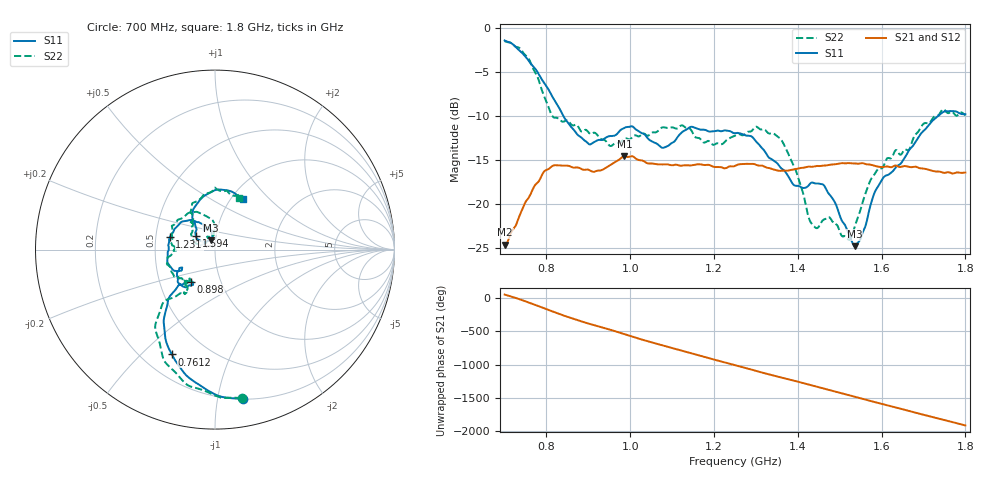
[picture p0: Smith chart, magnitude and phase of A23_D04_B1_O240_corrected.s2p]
! Created with skrf 1.9.0 (http://scikit-rf.org).
# Hz S RI R 50.0
!freq ReS11 ImS11 ReS21 ImS21 ReS12 ImS12 ReS22 ImS22
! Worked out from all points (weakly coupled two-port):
!   1601 points, 700 MHz to 1.8 GHz, reference 50 ohm
!   highest |S21| = -14.57 dB at 986 MHz (marker M1); lowest = -24.6 dB at 701.4 MHz (marker M2)
!   lowest |S11| = -24.8 dB at 1.535 GHz (marker M3), VSWR 1.12, Z = 47.4 + j5 ohm
!   |S11| at or under -10 dB: 840.1 MHz to 1.735 GHz (895.1 MHz wide, 69.5 % of centre)
!   |S22| runs from -24.1 to -1.5 dB; largest |S21 - S12| = 0.0034
!   S11 on the Smith chart (normalised r, x): 700 MHz: 0.20, -1.19; 761.2 MHz: 0.32, -0.62; 898 MHz: 0.72, -0.27; 1.231 GHz: 0.59, +0.09; 1.594 GHz: 0.80, +0.12; 1.8 GHz: 1.13, +0.71
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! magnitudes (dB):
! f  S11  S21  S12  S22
! 700 MHz  -1.4  -24.6  -24.4  -1.5
! 701.4 MHz  -1.5  -24.6  -24.2  -1.5
! 761.2 MHz  -4.0  -19.0  -18.9  -3.8
! 814.1 MHz  -7.8  -15.7  -15.7  -10.0
! 883.6 MHz  -12.5  -16.0  -15.9  -11.8
! 898 MHz  -13.1  -16.1  -16.2  -11.7
! 986 MHz  -11.4  -14.6  -14.7  -12.6
! 1.067 GHz  -13.3  -15.5  -15.4  -11.7
! 1.145 GHz  -11.2  -15.6  -15.6  -11.6
! 1.231 GHz  -11.7  -15.9  -15.8  -12.7
! 1.25 GHz  -12.0  -15.7  -15.6  -12.2
! 1.302 GHz  -13.0  -15.6  -15.5  -11.2
! 1.359 GHz  -15.9  -16.2  -16.2  -12.6
! 1.393 GHz  -17.9  -16.0  -16.0  -15.9
! 1.434 GHz  -17.6  -15.8  -15.7  -22.3
! 1.464 GHz  -18.0  -15.6  -15.6  -21.7
! 1.521 GHz  -23.4  -15.4  -15.4  -24.1
! 1.535 GHz  -24.8  -15.4  -15.4  -22.7
! 1.594 GHz  -17.8  -15.8  -15.8  -15.9
! 1.617 GHz  -16.6  -15.8  -15.7  -14.8
! 1.741 GHz  -9.8  -16.3  -16.3  -9.6
! 1.8 GHz  -9.8  -16.4  -16.4  -9.9
